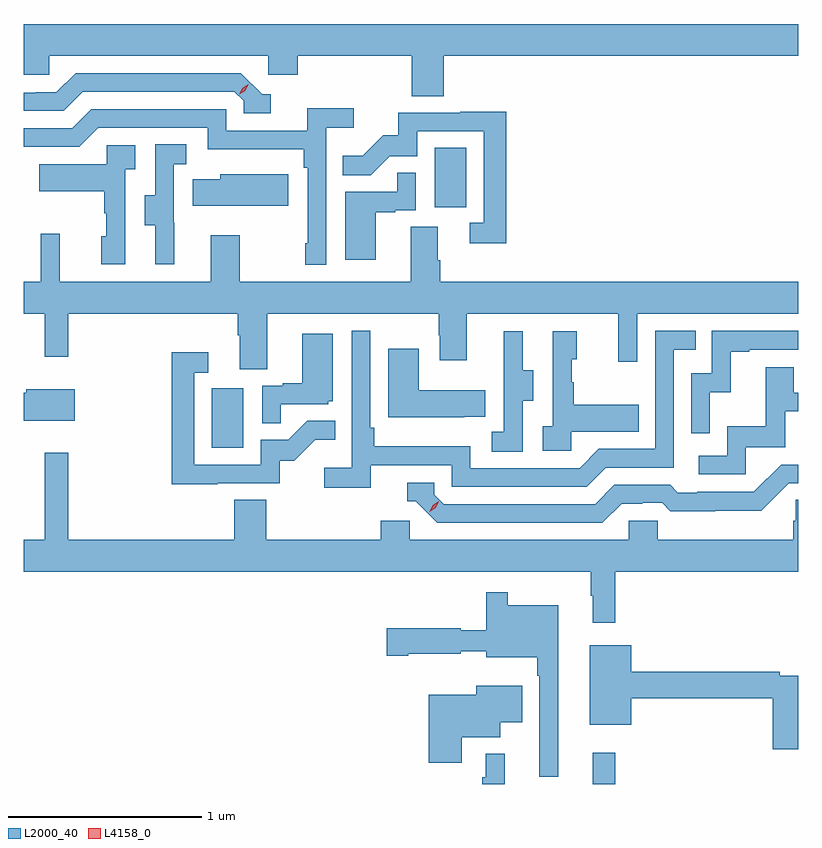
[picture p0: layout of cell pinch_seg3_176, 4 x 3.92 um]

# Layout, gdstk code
import gdstk
lib = gdstk.Library(unit=1e-6, precision=1e-09)
def R(c, l, rs):  # rectangles x0, y0, x1, y1
    for r in rs: c.add(gdstk.rectangle(r[:2], r[2:], *l))
def P(c, l, *ps):  # polygons
    for p in ps: c.add(gdstk.Polygon(p, *l))
L2000_40 = (2000, 40)
L4158_0 = (4158, 0)

pinch_seg3_176 = lib.new_cell('pinch_seg3_176')
R(pinch_seg3_176, L2000_40, [(998.9,742.444,999.017,742.606), (996.932,744.18,997.096,744.487), (998.084,745.422,998.248,745.729)])
P(pinch_seg3_176, L2000_40, [(995.962,746.106),(996.093,746.106),(996.093,746.204),(997.224,746.204),(997.224,746.106),(997.376,746.106),(997.376,746.204),(997.967,746.204),(997.967,745.996),(998.132,745.996),(998.132,746.204),(999.962,746.204),(999.962,746.368),(995.962,746.368)],
  [(997.237,746.004),(997.194,746.004),(997.083,746.115),(996.23,746.115),(996.131,746.016),(996.024,746.016),(996.024,746.013),(995.962,746.013),(995.962,745.92),(996.168,745.92),(996.267,746.019),(997.05,746.019),(997.098,745.971),(997.098,745.908),(997.237,745.908)],
  [(997.524,745.832),(997.666,745.832),(997.666,745.934),(997.427,745.934),(997.427,745.818),(997.008,745.818),(997.008,745.929),(996.311,745.929),(996.212,745.83),(995.962,745.83),(995.962,745.734),(996.249,745.734),(996.348,745.833),(996.912,745.833),(996.912,745.721),(997.408,745.721),(997.408,745.625),(997.428,745.625),(997.428,745.237),(997.416,745.237),(997.416,745.125),(997.524,745.125)],
  [(998.453,745.916),(998.215,745.916),(998.215,745.911),(997.897,745.911),(997.897,745.794),(997.82,745.794),(997.713,745.687),(997.609,745.687),(997.609,745.588),(997.753,745.588),(997.851,745.686),(997.995,745.686),(997.995,745.815),(998.337,745.815),(998.337,745.341),(998.265,745.341),(998.265,745.236),(998.453,745.236)],
  [(996.74,745.341),(996.738,745.341),(996.738,745.645),(996.802,745.645),(996.802,745.748),(996.642,745.748),(996.642,745.485),(996.587,745.485),(996.587,745.33),(996.641,745.33),(996.641,745.128),(996.74,745.128)],
  [(996.486,745.619),(996.538,745.619),(996.538,745.743),(996.39,745.743),(996.39,745.645),(996.043,745.645),(996.043,745.505),(996.378,745.505),(996.378,745.391),(996.388,745.391),(996.388,745.272),(996.362,745.272),(996.362,745.128),(996.486,745.128)],
  [(997.78,745.395),(997.88,745.395),(997.88,745.407),(997.986,745.407),(997.986,745.601),(997.891,745.601),(997.891,745.503),(997.622,745.503),(997.622,745.152),(997.78,745.152)],
  [(997.327,745.591),(996.978,745.591),(996.978,745.567),(996.835,745.567),(996.835,745.43),(997.327,745.43)],
  [(997.219,744.872),(998.104,744.872),(998.104,744.761),(998.111,744.761),(998.111,744.633),(998.251,744.633),(998.251,744.872),(999.032,744.872),(999.032,744.624),(999.129,744.624),(999.129,744.872),(999.962,744.872),(999.962,745.036),(998.114,745.036),(998.114,745.148),(998.101,745.148),(998.101,745.322),(997.961,745.322),(997.961,745.036),(997.077,745.036),(997.077,745.276),(996.929,745.276),(996.929,745.036),(996.149,745.036),(996.149,745.285),(996.051,745.285),(996.051,745.036),(995.962,745.036),(995.962,744.872),(996.071,744.872),(996.071,744.651),(996.193,744.651),(996.193,744.872),(997.067,744.872),(997.067,744.76),(997.079,744.76),(997.079,744.586),(997.219,744.586)],
  [(997.754,744.09),(998.172,744.09),(998.172,743.979),(998.869,743.979),(998.968,744.078),(999.318,744.078),(999.318,744.687),(999.431,744.687),(999.431,744.783),(999.222,744.783),(999.222,744.174),(998.931,744.174),(998.832,744.075),(998.268,744.075),(998.268,744.187),(997.772,744.187),(997.772,744.283),(997.752,744.283),(997.752,744.784),(997.656,744.784),(997.656,744.076),(997.515,744.076),(997.515,743.974),(997.754,743.974)],
  [(999.504,744.467),(999.614,744.467),(999.614,744.675),(999.709,744.675),(999.709,744.687),(999.962,744.687),(999.962,744.783),(999.516,744.783),(999.516,744.564),(999.408,744.564),(999.408,744.255),(999.504,744.255)],
  [(998.538,744.424),(998.593,744.424),(998.593,744.579),(998.539,744.579),(998.539,744.781),(998.441,744.781),(998.441,744.567),(998.442,744.567),(998.442,744.263),(998.379,744.263),(998.379,744.16),(998.538,744.16)],
  [(998.79,744.263),(999.137,744.263),(999.137,744.403),(998.803,744.403),(998.803,744.518),(998.793,744.518),(998.793,744.636),(998.818,744.636),(998.818,744.781),(998.694,744.781),(998.694,744.29),(998.643,744.29),(998.643,744.165),(998.79,744.165)],
  [(997.289,744.405),(997.536,744.405),(997.536,744.42),(997.558,744.42),(997.558,744.769),(997.4,744.769),(997.4,744.514),(997.301,744.514),(997.301,744.501),(997.194,744.501),(997.194,744.307),(997.289,744.307)],
  [(998.237,744.341),(998.345,744.341),(998.345,744.478),(998.002,744.478),(998.002,744.691),(997.844,744.691),(997.844,744.338),(998.237,744.338)],
  [(996.965,743.997),(997.284,743.997),(997.284,744.114),(997.36,744.114),(997.467,744.221),(997.571,744.221),(997.571,744.32),(997.427,744.32),(997.329,744.222),(997.185,744.222),(997.185,744.093),(996.843,744.093),(996.843,744.567),(996.916,744.567),(996.916,744.673),(996.727,744.673),(996.727,743.992),(996.965,743.992)],
  [(999.69,744.183),(999.895,744.183),(999.895,744.369),(999.962,744.369),(999.962,744.465),(999.937,744.465),(999.937,744.595),(999.793,744.595),(999.793,744.292),(999.594,744.292),(999.594,744.138),(999.447,744.138),(999.447,744.042),(999.69,744.042)],
  [(996.226,744.481),(995.976,744.481),(995.976,744.463),(995.962,744.463),(995.962,744.32),(996.226,744.32)],
  [(999.017,743.54),(999.962,743.54),(999.962,743.912),(999.949,743.912),(999.949,743.802),(999.935,743.802),(999.935,743.704),(999.237,743.704),(999.237,743.802),(999.087,743.802),(999.087,743.704),(997.956,743.704),(997.956,743.802),(997.805,743.802),(997.805,743.704),(997.214,743.704),(997.214,743.912),(997.049,743.912),(997.049,743.704),(996.193,743.704),(996.193,744.154),(996.071,744.154),(996.071,743.704),(995.962,743.704),(995.962,743.54),(998.889,743.54),(998.889,743.417),(998.9,743.417),(998.9,743.277),(999.017,743.277)],
  [(999.049,743.892),(999.156,743.892),(999.156,743.895),(999.259,743.895),(999.301,743.853),(999.534,743.853),(999.534,743.855),(999.77,743.855),(999.912,743.997),(999.962,743.997),(999.962,744.093),(999.873,744.093),(999.732,743.952),(999.439,743.952),(999.439,743.949),(999.34,743.949),(999.301,743.988),(999.012,743.988),(998.913,743.889),(998.13,743.889),(998.082,743.937),(998.082,744),(997.943,744),(997.943,743.904),(997.986,743.904),(998.097,743.793),(998.95,743.793)],
  [(998.722,743.368),(998.461,743.368),(998.461,743.434),(998.351,743.434),(998.351,743.239),(998.22,743.239),(998.22,743.247),(997.836,743.247),(997.836,743.105),(997.948,743.105),(997.948,743.117),(998.22,743.117),(998.22,743.129),(998.351,743.129),(998.351,743.099),(998.613,743.099),(998.613,743.003),(998.625,743.003),(998.625,742.482),(998.722,742.482)],
  [(999.962,743.004),(999.866,743.004),(999.866,743.024),(999.1,743.024),(999.1,743.161),(998.885,743.161),(998.885,742.751),(999.1,742.751),(999.1,742.888),(999.83,742.888),(999.83,742.623),(999.962,742.623)],
  [(998.224,742.685),(998.422,742.685),(998.422,742.763),(998.536,742.763),(998.536,742.951),(998.3,742.951),(998.3,742.906),(998.054,742.906),(998.054,742.554),(998.224,742.554)],
  [(998.447,742.6),(998.349,742.6),(998.349,742.479),(998.329,742.479),(998.329,742.444),(998.447,742.444)])
P(pinch_seg3_176, L4158_0, [(998.06,743.85),(998.06,743.85),(998.075,743.883),(998.105,743.904),(998.105,743.904),(998.105,743.904),(998.09,743.87),(998.06,743.85)],
  [(997.075,746.004),(997.075,746.004),(997.091,746.037),(997.121,746.056),(997.122,746.056),(997.122,746.056),(997.106,746.024),(997.075,746.004)])

lib.write_gds('pinch_seg3_176.gds')
